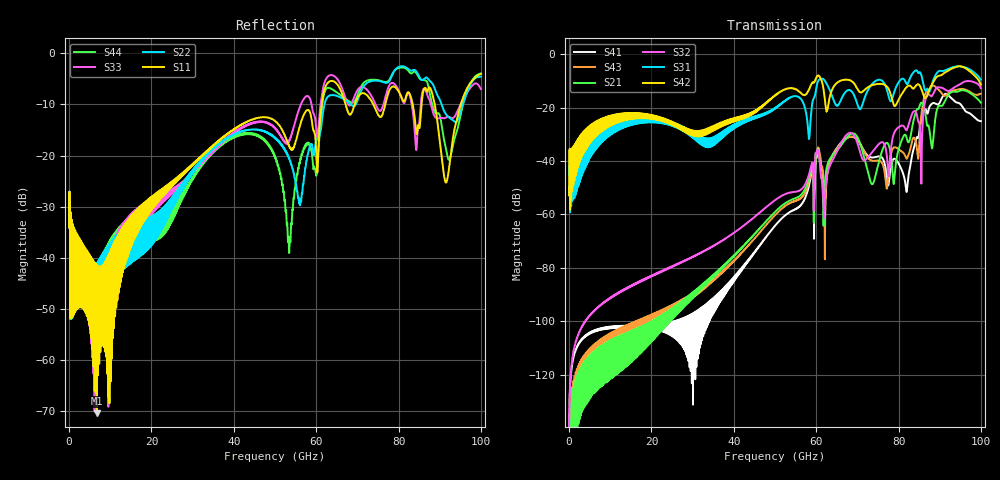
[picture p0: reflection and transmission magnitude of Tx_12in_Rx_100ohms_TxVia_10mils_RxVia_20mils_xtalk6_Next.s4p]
! Info: Touchstone file created by Circ.  Input file=Tx_12in_Rx_100ohms_TxVia_10mils_RxVia_20mils.circ
# Hz S RI R 50
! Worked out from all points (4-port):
!   10000 points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, 10 MHz to 100 GHz, reference 50 ohm
!   strongest paths, dB at 10 MHz, 25.01 GHz, 50.01 GHz, 75.01 GHz, 100 GHz:
!     S42: -52.8, -26.0, -15.3, -11.1, -11.3
!     S31: -52.8, -26.5, -20.1, -9.6, -9.5
!     S32: -144.8, -79.4, -54.7, -34.0, -12.7
!     S21: -160.6, -95.0, -59.1, -41.7, -18.1
!     S43: -146.8, -94.1, -60.3, -39.8, -14.8
!     S41: -145.0, -100.3, -64.2, -38.3, -25.0
!   lowest |S11| = -70.5 dB at 6.76 GHz (marker M1), VSWR 1.00, Z = 50 + j0.0285 ohm
!   |S11| at or under -10 dB: start of sweep to 61.35 GHz; 73.88 GHz to 76.77 GHz (2.889 GHz wide, 3.84 % of centre); 88.79 GHz to 95.12 GHz (6.327 GHz wide, 6.88 % of centre) (the widest 3 of 5)
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1e7  0.0184 0.00735  5.39e-09 7.57e-09  0.000803 0.00215  1.44e-08 5.47e-08
     5.39e-09 7.57e-09  0.0184 0.00735  -1.04e-10 5.74e-08  0.000799 0.00215
     0.000803 0.00215  -1.04e-10 5.74e-08  0.0183 0.00738  -8.42e-09 4.51e-08
     1.44e-08 5.47e-08  0.000799 0.00215  -8.42e-09 4.51e-08  0.0183 0.00738
6.76e9  9.11e-05 0.000285  1.72e-06 2.52e-06  0.018 0.035  -6.17e-07 6.98e-06
        1.72e-06 2.52e-06  0.00794 0.00407  9.69e-06 1.5e-05  0.029 0.0357
        0.018 0.035  9.69e-06 1.5e-05  0.000411 0.000724  2.29e-06 3.4e-06
        -6.17e-07 6.98e-06  0.029 0.0357  2.29e-06 3.4e-06  0.00711 0.00434
3.816e10  0.0926 0.1285  4.38e-05 -0.000117  0.00619 0.0386  2.76e-05 -3.8e-05
          4.38e-05 -0.000117  0.1354 0.0514  -6.59e-05 -0.000357  0.047 0.0307
          0.00619 0.0386  -6.59e-05 -0.000357  0.0732 0.1282  -1.92e-05 -9.97e-05
          2.76e-05 -3.8e-05  0.047 0.0307  -1.92e-05 -9.97e-05  0.1239 0.0641
6.038e10  0.07 -0.0339  0.0131 -0.0101  0.0113 0.302  0.00924 -0.0127
          0.0131 -0.0101  0.1506 0.00413  0.0124 -0.0104  0.3998 -0.013
          0.0113 0.302  0.0124 -0.0104  0.1088 -0.0997  0.00941 -0.0146
          0.00924 -0.0127  0.3998 -0.013  0.00941 -0.0146  0.0792 -0.0328
7.71e10  -0.2081 0.2909  -0.0219 -0.00177  0.0548 -0.2201  -0.00419 -0.00348
         -0.0219 -0.00177  0.2973 -0.4205  -0.00625 -0.0123  -0.2509 0.0316
         0.0548 -0.2201  -0.00625 -0.0123  -0.2385 0.3356  -0.00311 -3.53e-06
         -0.00419 -0.00348  -0.2509 0.0316  -0.00311 -3.53e-06  0.3308 -0.4091
8.801e10  -0.0153 -0.4269  0.0132 -0.0133  -0.0993 0.2391  0.0956 0.0672
          0.0132 -0.0133  -0.3228 0.4078  -0.00359 0.1639  0.1141 0.2355
          -0.0993 0.2391  -0.00359 0.1639  -0.2537 -0.158  0.1651 0.1829
          0.0956 0.0672  0.1141 0.2355  0.1651 0.1829  -0.1794 0.2874
1e11  -0.6302 0.0179  0.0979 -0.0765  0.0719 0.3257  -0.0516 -0.0216
      0.0979 -0.0765  -0.591 0.0388  0.119 0.1993  0.0989 0.2526
      0.0719 0.3257  0.119 0.1993  -0.4413 0.0762  0.1203 -0.1374
      -0.0516 -0.0216  0.0989 0.2526  0.1203 -0.1374  -0.6321 0.0866
